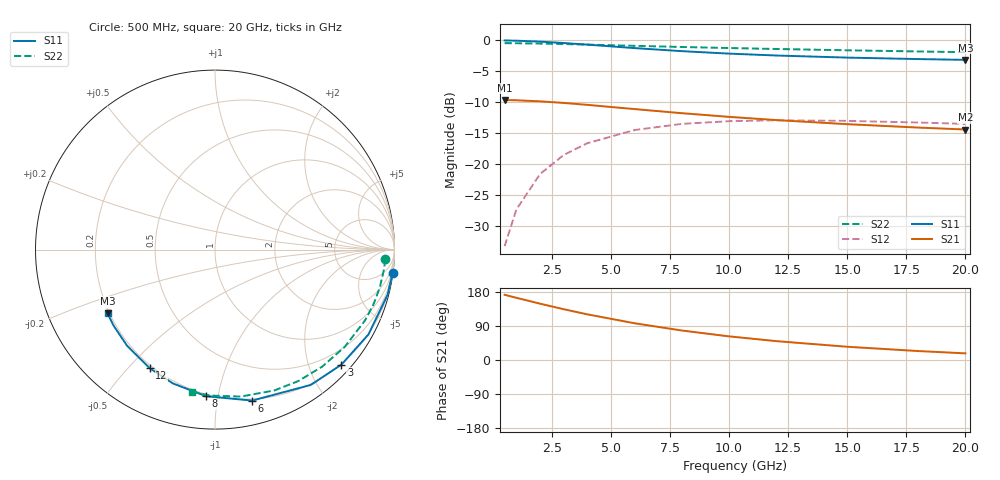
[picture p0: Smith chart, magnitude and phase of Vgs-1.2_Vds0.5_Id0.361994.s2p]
# Hz S RI R 50
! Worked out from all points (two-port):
!   12 points, 500 MHz to 20 GHz, reference 50 ohm
!   highest |S21| = -9.64 dB at 500 MHz (marker M1); lowest = -14.4 dB at 20 GHz (marker M2)
!   |S21| within 3 dB of the highest: start of sweep to 11.06 GHz
!   lowest |S11| = -3.1 dB at 20 GHz (marker M3), VSWR 5.58, Z = 9.61 - j13.2 ohm
!   |S11| at or under -10 dB: nowhere
!   |S22| runs from -1.9 to -0.4 dB; largest |S21 - S12| = 0.33
!   S11 on the Smith chart (normalised r, x): 500 MHz: 0, -16; 3 GHz: 0.19, -2.57; 6 GHz: 0.19, -1.26; 8 GHz: 0.19, -0.92; 12 GHz: 0.19, -0.58; 20 GHz: 0.19, -0.26
5e8  0.9902 -0.1281  -0.3265 0.0458  0.00208 0.0216  0.948 -0.0544
1e9  0.9615 -0.2519  -0.3155 0.09  0.00817 0.0423  0.9418 -0.1082
2e9  0.8552 -0.4724  -0.2747 0.1674  0.0305 0.0775  0.9182 -0.212
3e9  0.704 -0.6412  -0.2171 0.2246  0.0617 0.1011  0.8817 -0.3082
4e9  0.5334 -0.7541  -0.1529 0.2597  0.0959 0.1122  0.8352 -0.3956
6e9  0.2075 -0.8411  -0.0337 0.2764  0.1568 0.1049  0.7233 -0.5414
8e9  -0.0492 -0.8169  0.0545 0.2521  0.1972 0.0762  0.5967 -0.6526
1e10  -0.2336 -0.746  0.1118 0.2134  0.2184 0.042  0.4646 -0.7321
1.2e10  -0.3632 -0.6613  0.1466 0.1733  0.2258 0.00964  0.3325 -0.7842
1.5e10  -0.4897 -0.5357  0.1724 0.1205  0.2217 -0.03  0.1438 -0.819
1.8e10  -0.5657 -0.4227  0.1809 0.0792  0.2088 -0.0587  -0.0255 -0.8133
2e10  -0.5987 -0.355  0.1816 0.0573  0.1985 -0.0727  -0.1255 -0.793
